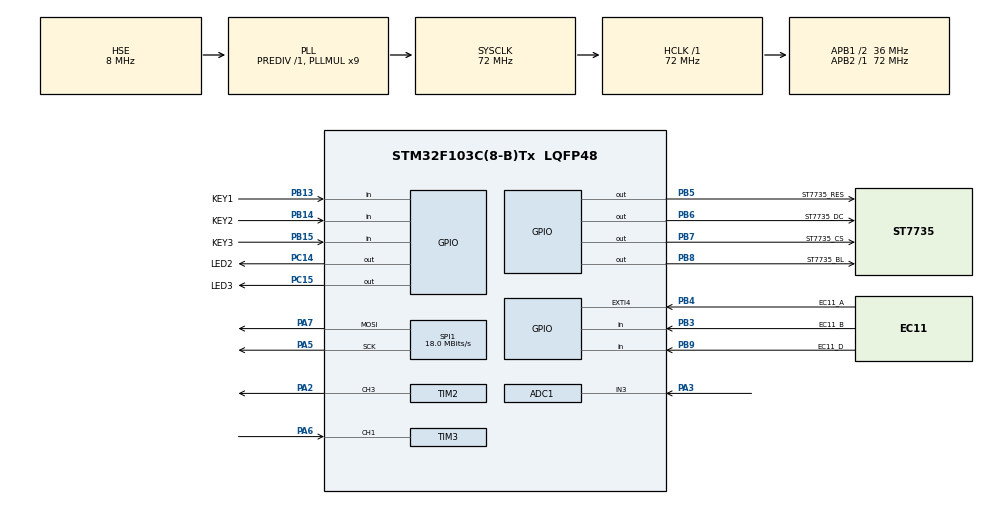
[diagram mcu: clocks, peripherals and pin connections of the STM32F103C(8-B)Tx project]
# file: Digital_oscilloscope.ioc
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ADC1.Channel-0\#ChannelRegularConversion=ADC_CHANNEL_3
ADC1.ContinuousConvMode=ENABLE
ADC1.NbrOfConversion=1
ADC1.NbrOfConversionFlag=1
ADC1.Rank-0\#ChannelRegularConversion=1
ADC1.SamplingTime-0\#ChannelRegularConversion=ADC_SAMPLETIME_55CYCLES_5
ADC1.master=1
Dma.ADC1.1.Direction=DMA_PERIPH_TO_MEMORY
Dma.ADC1.1.Instance=DMA1_Channel1
Dma.ADC1.1.MemDataAlignment=DMA_MDATAALIGN_HALFWORD
Dma.ADC1.1.MemInc=DMA_MINC_ENABLE
Dma.ADC1.1.Mode=DMA_CIRCULAR
Dma.ADC1.1.PeriphDataAlignment=DMA_PDATAALIGN_HALFWORD
Dma.ADC1.1.PeriphInc=DMA_PINC_DISABLE
Dma.ADC1.1.Priority=DMA_PRIORITY_HIGH
Dma.Request0=SPI1_TX
Dma.Request1=ADC1
Dma.SPI1_TX.0.Direction=DMA_MEMORY_TO_PERIPH
Dma.SPI1_TX.0.Instance=DMA1_Channel3
Dma.SPI1_TX.0.MemDataAlignment=DMA_MDATAALIGN_BYTE
Dma.SPI1_TX.0.MemInc=DMA_MINC_ENABLE
Dma.SPI1_TX.0.Mode=DMA_NORMAL
Dma.SPI1_TX.0.PeriphDataAlignment=DMA_PDATAALIGN_BYTE
Dma.SPI1_TX.0.PeriphInc=DMA_PINC_DISABLE
Dma.SPI1_TX.0.Priority=DMA_PRIORITY_MEDIUM
Mcu.Family=STM32F1
Mcu.Name=STM32F103C(8-B)Tx
Mcu.Package=LQFP48
NVIC.DMA1_Channel1_IRQn=true\:0\:0\:false\:false\:true\:false\:true\:true
NVIC.DMA1_Channel3_IRQn=true\:0\:0\:false\:false\:true\:false\:true\:true
NVIC.EXTI4_IRQn=true\:3\:0\:true\:false\:true\:true\:true\:true
NVIC.PriorityGroup=NVIC_PRIORITYGROUP_4
NVIC.TIM2_IRQn=true\:0\:0\:false\:false\:true\:true\:true\:true
NVIC.TIM3_IRQn=true\:1\:0\:true\:false\:true\:true\:true\:true
NVIC.TIM4_IRQn=true\:2\:0\:true\:false\:true\:true\:true\:true
PA13.Mode=Serial_Wire
PA13.Signal=SYS_JTMS-SWDIO
PA14.Mode=Serial_Wire
PA14.Signal=SYS_JTCK-SWCLK
PA2.Signal=S_TIM2_CH3
PA3.Signal=ADCx_IN3
PA5.Mode=TX_Only_Simplex_Unidirect_Master
PA5.Signal=SPI1_SCK
PA6.Signal=S_TIM3_CH1
PA7.Mode=TX_Only_Simplex_Unidirect_Master
PA7.Signal=SPI1_MOSI
PB13.GPIO_Label=KEY1
PB13.GPIO_PuPd=GPIO_PULLUP
PB13.Signal=GPIO_Input
PB14.GPIO_Label=KEY2
PB14.GPIO_PuPd=GPIO_PULLUP
PB14.Signal=GPIO_Input
PB15.GPIO_Label=KEY3
PB15.GPIO_PuPd=GPIO_PULLUP
PB15.Signal=GPIO_Input
PB3.GPIO_Label=EC11_B
PB3.GPIO_PuPd=GPIO_PULLUP
PB3.Signal=GPIO_Input
PB4.GPIO_Label=EC11_A
PB4.GPIO_ModeDefaultEXTI=GPIO_MODE_IT_RISING_FALLING
PB4.GPIO_PuPd=GPIO_PULLUP
PB4.Signal=GPXTI4
PB5.GPIO_Label=ST7735_RES
PB5.GPIO_Speed=GPIO_SPEED_FREQ_HIGH
PB5.Signal=GPIO_Output
PB6.GPIO_Label=ST7735_DC
PB6.GPIO_Speed=GPIO_SPEED_FREQ_HIGH
PB6.Signal=GPIO_Output
PB7.GPIO_Label=ST7735_CS
PB7.GPIO_Speed=GPIO_SPEED_FREQ_HIGH
PB7.Signal=GPIO_Output
PB8.GPIO_Label=ST7735_BL
PB8.GPIO_Speed=GPIO_SPEED_FREQ_HIGH
PB8.Signal=GPIO_Output
PB9.GPIO_Label=EC11_D
PB9.GPIO_PuPd=GPIO_PULLUP
PB9.Signal=GPIO_Input
PC14-OSC32_IN.GPIO_Label=LED2
PC14-OSC32_IN.PinState=GPIO_PIN_SET
PC14-OSC32_IN.Signal=GPIO_Output
PC15-OSC32_OUT.GPIO_Label=LED3
PC15-OSC32_OUT.PinState=GPIO_PIN_SET
PC15-OSC32_OUT.Signal=GPIO_Output
PD0-OSC_IN.Mode=HSE-External-Oscillator
PD0-OSC_IN.Signal=RCC_OSC_IN
PD1-OSC_OUT.Mode=HSE-External-Oscillator
PD1-OSC_OUT.Signal=RCC_OSC_OUT
ProjectManager.HeapSize=0x200
ProjectManager.StackSize=0x400
ProjectManager.TargetToolchain=MDK-ARM V5
RCC.ADCPresc=RCC_ADCPCLK2_DIV6
RCC.AHBFreq_Value=72000000
RCC.APB1CLKDivider=RCC_HCLK_DIV2
RCC.APB1Freq_Value=36000000
RCC.APB1TimFreq_Value=72000000
RCC.APB2Freq_Value=72000000
RCC.APB2TimFreq_Value=72000000
RCC.HCLKFreq_Value=72000000
RCC.PLLMUL=RCC_PLL_MUL9
RCC.PLLSourceVirtual=RCC_PLLSOURCE_HSE
RCC.SYSCLKFreq_VALUE=72000000
RCC.SYSCLKSource=RCC_SYSCLKSOURCE_PLLCLK
RCC.USBFreq_Value=72000000
SH.ADCx_IN3.0=ADC1_IN3,IN3
SH.S_TIM2_CH3.0=TIM2_CH3,PWM Generation3 CH3
SH.S_TIM3_CH1.0=TIM3_CH1,Input_Capture1_from_TI1
SPI1.BaudRatePrescaler=SPI_BAUDRATEPRESCALER_4
SPI1.CLKPhase=SPI_PHASE_2EDGE
SPI1.CLKPolarity=SPI_POLARITY_HIGH
SPI1.CalculateBaudRate=18.0 MBits/s
SPI1.Direction=SPI_DIRECTION_2LINES
SPI1.Mode=SPI_MODE_MASTER
SPI1.VirtualType=VM_MASTER
TIM2.AutoReloadPreload=TIM_AUTORELOAD_PRELOAD_ENABLE
TIM2.Channel-PWM\ Generation3\ CH3=TIM_CHANNEL_3
TIM2.Period=1000 - 1
TIM2.Prescaler=72 - 1
TIM2.Pulse-PWM\ Generation3\ CH3=500
TIM3.AutoReloadPreload=TIM_AUTORELOAD_PRELOAD_ENABLE
TIM3.Channel-Input_Capture1_from_TI1=TIM_CHANNEL_1
TIM3.Prescaler=72 - 1
TIM4.AutoReloadPreload=TIM_AUTORELOAD_PRELOAD_ENABLE
TIM4.Period=1000 - 1
TIM4.Prescaler=72 - 1
VP_TIM2_VS_ClockSourceINT.Mode=Internal
VP_TIM3_VS_ClockSourceINT.Mode=Internal
VP_TIM4_VS_ClockSourceINT.Mode=Internal
board=custom

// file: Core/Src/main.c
/* USER CODE BEGIN Header */
/**
  ******************************************************************************
  * @file           : main.c
  * @brief          : Main program body
  ******************************************************************************
  * @attention
  *
  * Copyright (c) 2026 STMicroelectronics.
  * All rights reserved.
  *
  * This software is licensed under terms that can be found in the LICENSE file
  * in the root directory of this software component.
  * If no LICENSE file comes with this software, it is provided AS-IS.
  *
  ******************************************************************************
  */
/* USER CODE END Header */
#include "main.h"
#include "adc.h"
#include "dma.h"
#include "spi.h"
#include "tim.h"
#include "gpio.h"

/* USER CODE BEGIN Includes */
#include "st7735.h"
#include "lcd_test.h"
#include "pic.h"

#include "hw_led.h"
#include "hw_key.h"
#include "hw_ec11.h"

#include "mid_timer.h"

#include "osc_task.h"
/* USER CODE END Includes */

/* USER CODE BEGIN PTD */
// extern float adc_voltage;
/* USER CODE END PTD */

void SystemClock_Config(void);

/* USER CODE BEGIN 0 */

//static struct key_class key_handle[4];
/* USER CODE END 0 */

int main(void)
{

  /* USER CODE BEGIN 1 */
//  uint16_t adc_vref_value = 0;
  /* USER CODE END 1 */

  /* MCU Configuration--------------------------------------------------------*/

  /* Reset of all peripherals, Initializes the Flash interface and the Systick. */
  HAL_Init();

  /* Configure the system clock */
  SystemClock_Config();

  /* Initialize all configured peripherals */
  MX_GPIO_Init();
  MX_DMA_Init();
  MX_SPI1_Init();
  MX_ADC1_Init();
  MX_TIM2_Init();
  MX_TIM4_Init();
  MX_TIM3_Init();
  /* USER CODE BEGIN 2 */

  //========================初始化====================================//

  //adc_vref_value = Get_ADC_Average(200);

  hw_led_init();
  hw_key_init();
  hw_ec11_init();

  LCD_Init();
  ic_tim3_start();
  tim4_start();

  //=================================================================//

  LCD_Fill(0,0,160,128,BLACK);
  TFT_StaticUI();
  HAL_TIM_Base_Start_IT(&htim2);
  HAL_TIM_PWM_Start(&htim2, TIM_CHANNEL_3);
  //==============================================================//
  //LCD_ShowChinese(0,0,"KY",BLUE,WHITE,16,0);
  //LCD_ShowPicture(39,55,50,50,gImage_esrth50x50);

  /* USER CODE END 2 */

  /* Infinite loop */
  while (1)
  {

    /* USER CODE BEGIN 3 */

//    LCD_ShowString(24,30,"LCD_W:",RED,WHITE,16,0);
//    LCD_ShowIntNum(72,30,LCD_W,3,RED,WHITE,16);
//    LCD_ShowString(24,50,"LCD_H:",RED,WHITE,16,0);
//    LCD_ShowIntNum(72,50,LCD_H,3,RED,WHITE,16);
//    LCD_ShowFloatNum1(20,80,t,4,RED,WHITE,16);
//    t+=0.11;

    //key
//    key_scanf(&key_handle[key1]);
//    key_scanf(&key_handle[key2]);
//    key_scanf(&key_handle[key3]);

    //LED
    //led_toggle(&led_handle[led1]);

    //ADC
    //LCD_ShowFloatNum1(0,20,adc_voltage,4,RED,BLACK,16);

    //KEY
//    if(key_handle[key1].key_state == KeyPress)
//    {
//        led_toggle(&led_handle[led1]);  // 单击翻转LED1
//        key_handle[key1].key_state = KEY_NoPress;  // 清除状态
//    }
//    else if(key_handle[key1].key_state == KeyDoublePress)
//    {
//        led_turn_on(&led_handle[led2]);  // 双击点亮
//        key_handle[key1].key_state = KEY_NoPress;
//    }
//    else if(key_handle[key1].key_state == KeyLongPress)
//    {
//        led_turn_off(&led_handle[led2]);  // 长按熄灭
//        key_handle[key1].key_state = KEY_NoPress;
//    }
     //EC11
    // if(ec11_handle.ec11_direction == ec11_reversal)
    // {
    //     led_toggle(&led_handle[led1]);  // 反转LED1
    // }
    // else if(ec11_handle.ec11_direction == ec11_forward)
    // {
    //     led_toggle(&led_handle[led2]);  // 正转LED2
    // }

    //输入捕获
    //PWM
    //pwm_test();
    //HAL_Delay(500);

  }
  /* USER CODE END 3 */
}

void SystemClock_Config(void)
{
  RCC_OscInitTypeDef RCC_OscInitStruct = {0};
  RCC_ClkInitTypeDef RCC_ClkInitStruct = {0};
  RCC_PeriphCLKInitTypeDef PeriphClkInit = {0};

  /** Initializes the RCC Oscillators according to the specified parameters
  * in the RCC_OscInitTypeDef structure.
  */
  RCC_OscInitStruct.OscillatorType = RCC_OSCILLATORTYPE_HSE;
  RCC_OscInitStruct.HSEState = RCC_HSE_ON;
  RCC_OscInitStruct.HSEPredivValue = RCC_HSE_PREDIV_DIV1;
  RCC_OscInitStruct.HSIState = RCC_HSI_ON;
  RCC_OscInitStruct.PLL.PLLState = RCC_PLL_ON;
  RCC_OscInitStruct.PLL.PLLSource = RCC_PLLSOURCE_HSE;
  RCC_OscInitStruct.PLL.PLLMUL = RCC_PLL_MUL9;
  if (HAL_RCC_OscConfig(&RCC_OscInitStruct) != HAL_OK)
  {
    Error_Handler();
  }

  /** Initializes the CPU, AHB and APB buses clocks
  */
  RCC_ClkInitStruct.ClockType = RCC_CLOCKTYPE_HCLK|RCC_CLOCKTYPE_SYSCLK
                              |RCC_CLOCKTYPE_PCLK1|RCC_CLOCKTYPE_PCLK2;
  RCC_ClkInitStruct.SYSCLKSource = RCC_SYSCLKSOURCE_PLLCLK;
  RCC_ClkInitStruct.AHBCLKDivider = RCC_SYSCLK_DIV1;
  RCC_ClkInitStruct.APB1CLKDivider = RCC_HCLK_DIV2;
  RCC_ClkInitStruct.APB2CLKDivider = RCC_HCLK_DIV1;

  if (HAL_RCC_ClockConfig(&RCC_ClkInitStruct, FLASH_LATENCY_2) != HAL_OK)
  {
    Error_Handler();
  }
  PeriphClkInit.PeriphClockSelection = RCC_PERIPHCLK_ADC;
  PeriphClkInit.AdcClockSelection = RCC_ADCPCLK2_DIV6;
  if (HAL_RCCEx_PeriphCLKConfig(&PeriphClkInit) != HAL_OK)
  {
    Error_Handler();
  }
}

void Error_Handler(void)
{
  __disable_irq();
  while (1)
  {
  }
}
